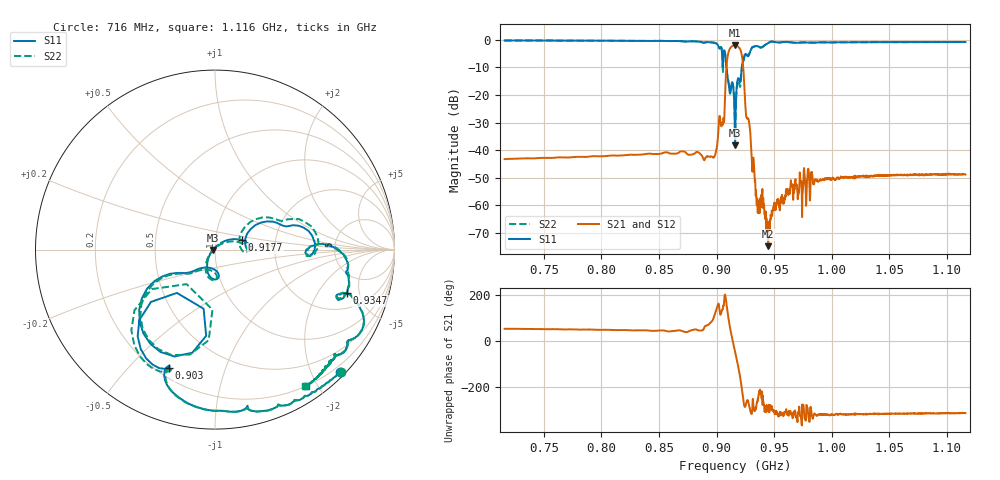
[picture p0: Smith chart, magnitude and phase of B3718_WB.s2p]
! S-parameter for B3718 in Touchstone format with magnitude (lin) and phase
! Normalised impedance: 50 Ohm. Measurement system: 50 Ohm Ta = 20°C
! B3718_SB.s2p . Measurement full 2-port calibrated incl. Port ext.
! Start: 716.00MHz, Stop: 1116.00MHz, Span: 400MHz, 1601 Pts., Step: 250.0kHz
! Date:25/10/06 Epcos SAW COM WT AE PD, AB
! Pinning according data sheet recommendation, In P2, Out P5, all others GND
! port | pin | signal
!  1  |  2  |  IN
!  2  |  5  |  OUT
# MHZ S MA R 50
! freq  magS11 angS11  magS21 angS21  magS12 angS12  magS22 angS22
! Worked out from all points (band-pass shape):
!   1601 points, 716 MHz to 1.116 GHz, reference 50 ohm
!   highest |S21| = -1.86 dB at 916 MHz (marker M1); lowest = -74.9 dB at 944.8 MHz (marker M2)
!   |S21| within 3 dB of the highest: 910.1 MHz to 921.6 MHz (11.47 MHz wide, 1.25 % of centre)
!   lowest |S11| = -38.2 dB at 916 MHz (marker M3), VSWR 1.02, Z = 48.8 - j0.152 ohm
!   |S11| at or under -10 dB: 908.6 MHz to 921.9 MHz (13.34 MHz wide, 1.46 % of centre)
!   |S22| runs from -37.0 to -0.2 dB; largest |S21 - S12| = 0.0017
!   S11 on the Smith chart (normalised r, x): 716 MHz: 0.09, -2.45; 903 MHz: 0.25, -0.65; 917.8 MHz: 1.35, +0.14; 934.8 MHz: 3.14, -3.77; 1.116 GHz: 0.20, -1.85
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716  0.9755 -44.3  0.00687 54.3  0.006878 54.5  0.9757 -44.2
782.75  0.9688 -50.2  0.007527 50.6  0.007532 50.5  0.9699 -50.2
849.5  0.962 -59.9  0.008486 46.4  0.008498 46.3  0.9633 -59.7
878.25  0.9433 -69.9  0.008278 47.8  0.0083 47.7  0.9449 -69.7
897  0.8961 -91.6  0.007274 96.2  0.007269 95.9  0.8976 -91.4
903  0.7069 -111.4  0.03883 120.8  0.03885 120.7  0.7204 -110.2
905.5  0.3358 -100.9  0.02894 143.7  0.02889 143.4  0.2492 -129.4
908.75  0.2852 -151.7  0.3578 158.8  0.3564 158.9  0.3021 -151.3
911.5  0.1073 -111.2  0.6917 64.2  0.6911 64.2  0.1197 -111.7
913.75  0.1645 -93.3  0.7765 7.3  0.7764 7.3  0.1691 -96.4
916  0.0123 -172.7  0.8072 -44.6  0.8065 -44.5  0.01514 -158.8
917.75  0.1599 19.1  0.7813 -85.7  0.7809 -85.6  0.1477 14.8
920.25  0.172 5.5  0.6911 -150.6  0.6907 -150.5  0.1406 6.3
923  0.404 19.1  0.3446 111.8  0.3449 112.0  0.4 23.6
925.25  0.5599 2.9  0.05288 80.0  0.05294 80.0  0.5777 3.9
934.75  0.774 -18.1  0.001044 86.6  0.001034 85.3  0.7689 -18.2
939.75  0.7417 -19.6  0.00197 100.5  0.001986 101.8  0.741 -19.3
944.75  0.8768 -22.4  0.0001807 55.3  0.0001798 48.1  0.8738 -22.2
962.75  0.9111 -39.8  0.001791 55.0  0.001782 55.9  0.9102 -39.7
982.75  0.8912 -44.1  0.003987 35.4  0.003997 35.5  0.893 -44.2
1049.5  0.9122 -51.6  0.00343 41.4  0.003428 41.4  0.9113 -51.6
1116  0.9139 -56.5  0.0036 45.4  0.003616 45.2  0.9139 -56.5
